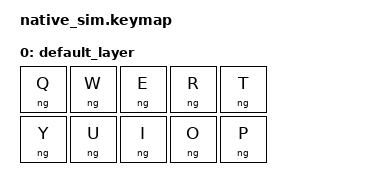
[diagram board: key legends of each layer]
#include <behaviors.dtsi>
#include <dt-bindings/zmk/keys.h>
#include <behaviors/naginata.dtsi>

/ {
    keymap {
        compatible = "zmk,keymap";
        default_layer {
            bindings = <
                &ng Q    &ng W    &ng E    &ng R    &ng T
                &ng Y    &ng U    &ng I    &ng O    &ng P
            >;
        };
    };
};
